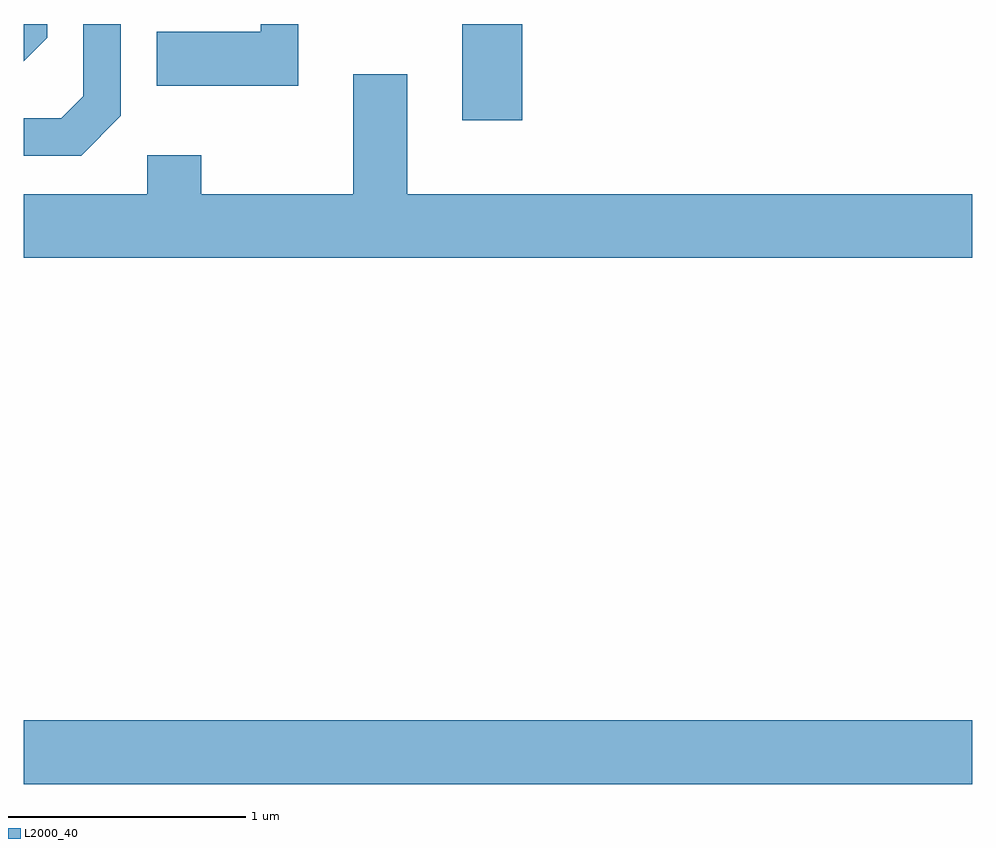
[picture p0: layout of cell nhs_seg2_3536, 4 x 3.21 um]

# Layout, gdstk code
import gdstk
lib = gdstk.Library(unit=1e-6, precision=1e-09)
def R(c, l, rs):  # rectangles x0, y0, x1, y1
    for r in rs: c.add(gdstk.rectangle(r[:2], r[2:], *l))
def P(c, l, *ps):  # polygons
    for p in ps: c.add(gdstk.Polygon(p, *l))
L2000_40 = (2000, 40)

nhs_seg2_3536 = lib.new_cell('nhs_seg2_3536')
R(nhs_seg2_3536, L2000_40, [(289.611,990.596,293.611,990.864), (291.461,993.396,291.714,993.802)])
P(nhs_seg2_3536, L2000_40, [(290.769,993.802),(290.611,993.802),(290.611,993.769),(290.171,993.769),(290.171,993.541),(290.769,993.541)],
  [(290.019,993.414),(290.019,993.802),(289.861,993.802),(289.861,993.497),(289.769,993.404),(289.611,993.404),(289.611,993.246),(289.852,993.246)],
  [(289.709,993.744),(289.709,993.802),(289.611,993.802),(289.611,993.645)],
  [(293.611,993.084),(291.229,993.084),(291.229,993.589),(291.001,993.589),(291.001,993.084),(290.359,993.084),(290.359,993.249),(290.131,993.249),(290.131,993.084),(289.611,993.084),(289.611,992.816),(293.611,992.816)])

lib.write_gds('nhs_seg2_3536.gds')
